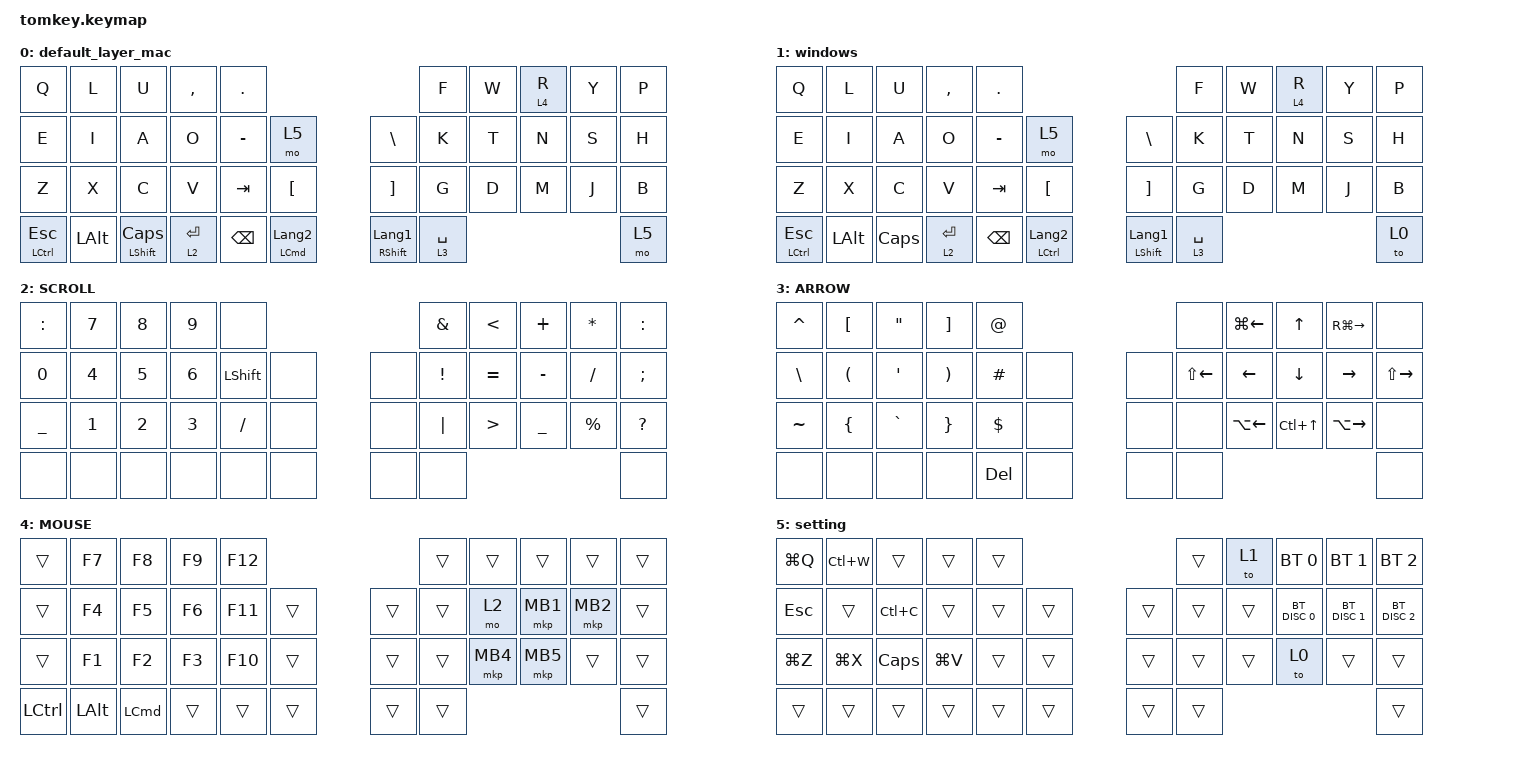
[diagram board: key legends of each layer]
#include <behaviors.dtsi>
#include <dt-bindings/zmk/bt.h>
#include <dt-bindings/zmk/keys.h>
#include <dt-bindings/zmk/pointing.h>

/ {
    behaviors {
        modtap500ms: modtap500ms {
            compatible = "zmk,behavior-hold-tap";
            label = "MODTAP500MS";
            #binding-cells = <2>;
            tapping-term-ms = <500>;
            bindings = <&mt>, <&kp>;

            flavor = "tap-preferred";
        };

        layertap500ms: layertap500ms {
            compatible = "zmk,behavior-hold-tap";
            label = "LAYERTAP500MS";
            bindings = <&lt>, <&kp>;

            #binding-cells = <2>;
            tapping-term-ms = <500>;
        };
    };

    combos {
        compatible = "zmk,combos";

        key-positions {
            bindings = <&sl 2>;
            key-positions = <19 20 21>;
            timeout-ms = <1>;
        };
    };

    keymap {
        compatible = "zmk,keymap";

        default_layer_mac {
            bindings = <
&kp Q             &kp L         &kp U                &kp COMMA    &kp PERIOD                                                                  &kp F        &kp W  &lt 4 R  &kp Y  &kp P
&kp E             &kp I         &kp A                &kp O        &kp MINUS      &mo 5                            &kp BACKSLASH               &kp K        &kp T  &kp N    &kp S  &kp H
&kp Z             &kp X         &kp C                &kp V        &kp TAB        &kp LEFT_BRACKET                 &kp RIGHT_BRACKET           &kp G        &kp D  &kp M    &kp J  &kp B
&mt LCTRL ESCAPE  &kp LEFT_ALT  &mt LEFT_SHIFT CAPS  &lt 2 ENTER  &kp BACKSPACE  &mt LEFT_COMMAND LANGUAGE_2      &mt RIGHT_SHIFT LANGUAGE_1  &lt 3 SPACE                         &mo 5
            >;
        };

        windows {
            bindings = <
&kp Q             &kp L         &kp U         &kp COMMA    &kp PERIOD                                                                 &kp F        &kp W  &lt 4 R  &kp Y  &kp P
&kp E             &kp I         &kp A         &kp O        &kp MINUS      &mo 5                            &kp BACKSLASH              &kp K        &kp T  &kp N    &kp S  &kp H
&kp Z             &kp X         &kp C         &kp V        &kp TAB        &kp LEFT_BRACKET                 &kp RIGHT_BRACKET          &kp G        &kp D  &kp M    &kp J  &kp B
&mt LCTRL ESCAPE  &kp LEFT_ALT  &kp CAPSLOCK  &lt 2 ENTER  &kp BACKSPACE  &mt LEFT_CONTROL LANGUAGE_2      &mt LEFT_SHIFT LANGUAGE_1  &lt 3 SPACE                         &to 0
            >;
        };

        SCROLL {
            bindings = <
&kp COLON       &kp NUMBER_7  &kp NUMBER_8  &kp NUMBER_9  &none                             &kp AMPERSAND    &kp LESS_THAN     &kp PLUS        &kp ASTERISK  &kp COLON
&kp NUMBER_0    &kp NUMBER_4  &kp NUMBER_5  &kp NUMBER_6  &kp LEFT_SHIFT  &none      &none  &kp EXCLAMATION  &kp EQUAL         &kp MINUS       &kp SLASH     &kp SEMICOLON
&kp UNDERSCORE  &kp NUMBER_1  &kp NUMBER_2  &kp NUMBER_3  &kp SLASH       &none      &none  &kp PIPE         &kp GREATER_THAN  &kp UNDERSCORE  &kp PERCENT   &kp QUESTION
&none           &none         &none         &none         &none           &none      &none  &none                                                            &none
            >;
        };

        ARROW {
            bindings = <
&kp CARET      &kp LEFT_BRACKET      &kp DOUBLE_QUOTES  &kp RIGHT_BRACKET      &kp AT_SIGN                    &none               &kp LG(LEFT_ARROW)  &kp UP_ARROW      &kp RG(RIGHT_ARROW)  &none
&kp BACKSLASH  &kp LEFT_PARENTHESIS  &kp SINGLE_QUOTE   &kp RIGHT_PARENTHESIS  &kp HASH     &none      &none  &kp LS(LEFT_ARROW)  &kp LEFT_ARROW      &kp DOWN_ARROW    &kp RIGHT_ARROW      &kp LS(RIGHT_ARROW)
&kp TILDE      &kp LEFT_BRACE        &kp GRAVE          &kp RIGHT_BRACE        &kp DOLLAR   &none      &none  &none               &kp LA(LEFT_ARROW)  &kp LC(UP_ARROW)  &kp LA(RIGHT_ARROW)  &none
&none          &none                 &none              &none                  &kp DELETE   &none      &none  &none                                                                          &none
            >;
        };

        MOUSE {
            bindings = <
&trans     &kp F7        &kp F8            &kp F9  &kp F12                      &trans  &trans    &trans    &trans    &trans
&trans     &kp F4        &kp F5            &kp F6  &kp F11  &trans      &trans  &trans  &mo 2     &mkp MB1  &mkp MB2  &trans
&trans     &kp F1        &kp F2            &kp F3  &kp F10  &trans      &trans  &trans  &mkp MB4  &mkp MB5  &trans    &trans
&kp LCTRL  &kp LEFT_ALT  &kp LEFT_COMMAND  &trans  &trans   &trans      &trans  &trans                                &trans
            >;
        };

        setting {
            bindings = <
&kp LG(Q)   &kp LC(W)  &trans        &trans     &trans                      &trans  &to 1   &bt BT_SEL 0   &bt BT_SEL 1   &bt BT_SEL 2
&kp ESCAPE  &trans     &kp LC(C)     &trans     &trans  &trans      &trans  &trans  &trans  &bt BT_DISC 0  &bt BT_DISC 1  &bt BT_DISC 2
&kp LG(Z)   &kp LG(X)  &kp CAPSLOCK  &kp LG(V)  &trans  &trans      &trans  &trans  &trans  &to 0          &trans         &trans
&trans      &trans     &trans        &trans     &trans  &trans      &trans  &trans                                        &trans
            >;
        };
    };
};
